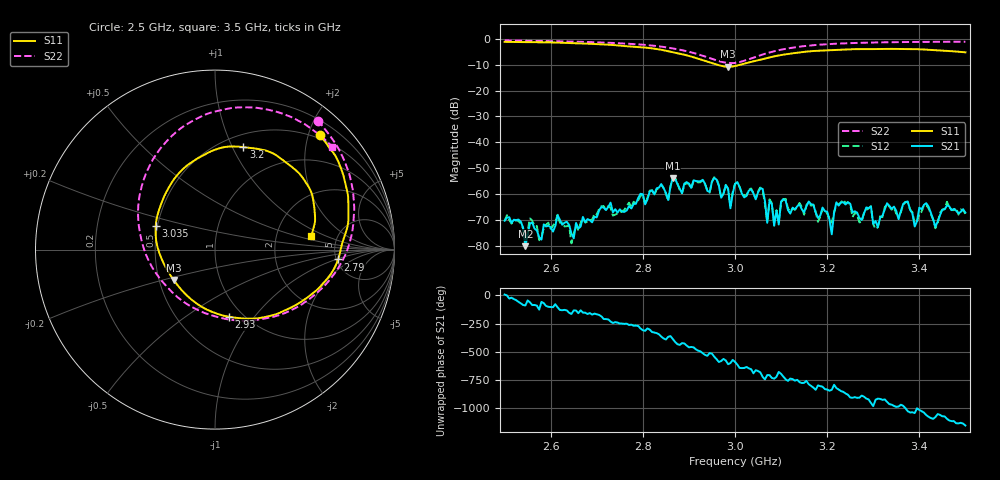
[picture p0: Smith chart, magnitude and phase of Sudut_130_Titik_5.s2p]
# Hz S RI R 50
! CMT, C1220, 16058040, 17.2.0/1
! Date: 15/08/2018 10:24:39
! Data: Format (Calibration Info)
! Freq  S11: Re/Im (F2)  S21: Re/Im (F2)  S12: Re/Im (F2)  S22: Re/Im (F2)
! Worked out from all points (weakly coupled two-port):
!   201 points, 2.5 GHz to 3.5 GHz, reference 50 ohm
!   highest |S21| = -53.62 dB at 2.865 GHz (marker M1); lowest = -79.9 dB at 2.545 GHz (marker M2)
!   lowest |S11| = -10.9 dB at 2.985 GHz (marker M3), VSWR 1.80, Z = 29.7 - j10.9 ohm
!   |S11| at or under -10 dB: 2.96 GHz to 3.013 GHz (52.76 MHz wide, 1.77 % of centre)
!   |S22| runs from -9.5 to -0.7 dB; largest |S21 - S12| = 0.00018
!   S11 on the Smith chart (normalised r, x): 2.5 GHz: 0.44, +2.20; 2.79 GHz: 5.18, -1.08; 2.93 GHz: 0.86, -0.76; 3.035 GHz: 0.49, +0.15; 3.2 GHz: 0.63, +1.10; 3.5 GHz: 3.21, +0.69
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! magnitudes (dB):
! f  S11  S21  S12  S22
! 2.5 GHz  -1.3  -70.1  -70.3  -0.7
! 2.545 GHz  -1.4  -79.9  -78.5  -0.8
! 2.555 GHz  -1.4  -71.2  -69.2  -0.9
! 2.645 GHz  -1.8  -75.0  -78.8  -1.2
! 2.67 GHz  -1.9  -68.7  -69.2  -1.3
! 2.79 GHz  -3.2  -61.3  -62.2  -2.2
! 2.835 GHz  -4.2  -57.3  -57.6  -3.0
! 2.865 GHz  -5.3  -53.6  -53.7  -3.8
! 2.93 GHz  -8.4  -54.4  -54.6  -6.6
! 2.985 GHz  -10.9  -57.8  -57.9  -9.4
! 2.99 GHz  -10.8  -65.3  -64.5  -9.4
! 3 GHz  -10.6  -55.9  -56.0  -9.4
! 3.035 GHz  -9.0  -58.0  -57.7  -7.7
! 3.085 GHz  -6.9  -72.1  -71.6  -4.9
! 3.105 GHz  -6.2  -61.8  -61.9  -4.1
! 3.17 GHz  -4.8  -64.0  -63.9  -2.6
! 3.2 GHz  -4.5  -66.6  -67.2  -2.2
! 3.21 GHz  -4.5  -75.4  -70.8  -2.1
! 3.22 GHz  -4.4  -63.0  -63.9  -2.0
! 3.305 GHz  -4.0  -70.2  -73.4  -1.5
! 3.335 GHz  -4.0  -64.4  -64.7  -1.4
! 3.5 GHz  -5.3  -67.0  -67.4  -1.2
